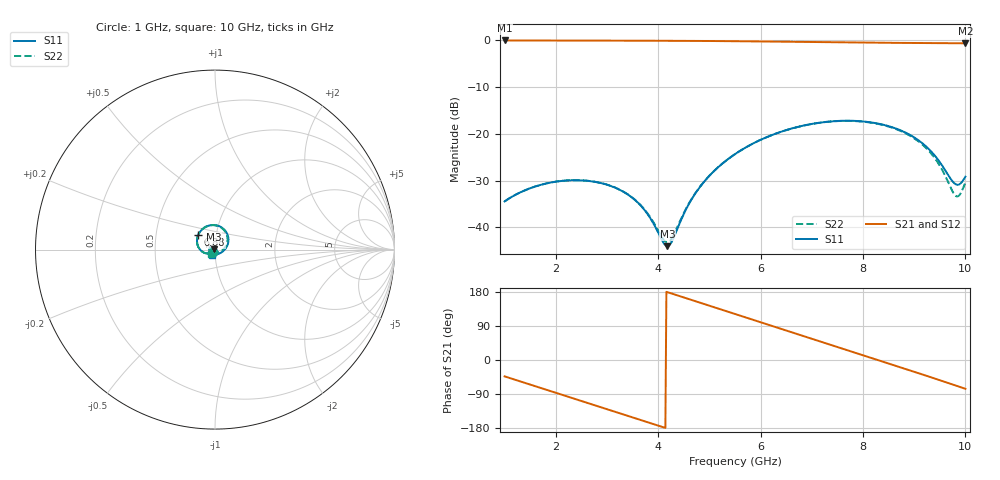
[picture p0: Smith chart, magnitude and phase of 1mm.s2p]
! Touchstone file exported from HFSS 2018.2.0
!  File:  C:/Users/10024/OneDrive - The University of Nottingham Ningbo China/Year 4/Final Year Project/HFSS project/Passive_Resonator_Antenna.aedt
!  Generated:  11:26:03 上午  3月 12, 2022
!  Design:  SMA_Thru
!  Project:  Passive_Resonator_Antenna
!  Setup:  Setup1
!  Solution:  Sweep
! Variables:
!  MW = 1.992mm
!  ThruL = 1mm
!  g = 0.2mm
!  subH = 0.8mm
!  subX = 20mm
!  subY = 11mm
!  tapW = 1.992mm
# GHZ S MA R 50.000000
! Modal data exported
! Port[1] = SMA_CONNECTOR1_1:1
! Port[2] = SMA_CONNECTOR2_1:1
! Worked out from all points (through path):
!   451 points, 1 GHz to 10 GHz, reference 50 ohm
!   highest |S21| = -0.01 dB at 1 GHz (marker M1); lowest = -0.6 dB at 10 GHz (marker M2)
!   group delay of S21, straight-line fit = 121 ps
!   lowest |S11| = -44.1 dB at 4.18 GHz (marker M3), VSWR 1.01, Z = 49.4 + j0.0887 ohm
!   |S11| at or under -10 dB: start of sweep to end of sweep
!   |S22| runs from -43.2 to -17.2 dB; largest |S21 - S12| = 2.4e-14
!   S11 on the Smith chart (normalised r, x): 1 GHz: 0.97, -0.03; 6.88 GHz: 0.82, +0.13; 10 GHz: 0.96, -0.06
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1  0.01889 -134.2  0.9992 -43.2  0.9992 -43.2  0.01889 -132.6
! Gamma ! 0.0151858380091092 30.3716836111863 0.0151858380091321 30.371683611183
! Port Impedance50 0 50 0
1.78  0.02909 -166.6  0.998 -76.9  0.998 -76.9  0.0291 -165.5
2.5  0.03175 163.9  0.9965 -108.1  0.9965 -108.1  0.03178 165.1
2.94  0.02914 146.8  0.9955 -127.1  0.9955 -127.1  0.0292 148.2
3.42  0.02212 130.7  0.9942 -147.9  0.9942 -147.9  0.02224 132.5
3.74  0.0151 125.1  0.9931 -161.8  0.9931 -161.8  0.01532 127.7
4  0.008737 135.3  0.9921 -173.2  0.9921 -173.2  0.009174 138.6
4.18  0.006263 171.8  0.9913 179.0  0.9913 179.0  0.006906 172.5
4.28  0.007256 -162.3  0.9908 174.7  0.9908 174.7  0.007837 -164.0
4.56  0.01614 -137.6  0.9892 162.5  0.9892 162.5  0.01643 -139.2
4.8  0.02628 -139.0  0.9875 152.0  0.9875 152.0  0.02645 -139.9
5.5  0.0606 -162.0  0.981 121.4  0.981 121.4  0.06062 -162.0
6.18  0.09506 169.8  0.9722 91.7  0.9722 91.7  0.09496 170.3
6.88  0.124 139.1  0.9616 61.2  0.9616 61.2  0.1237 139.9
7  0.1277 133.7  0.9597 56.0  0.9597 56.0  0.1273 134.6
7.78  0.1379 98.0  0.9488 22.2  0.9488 22.2  0.1373 99.4
8.5  0.1208 62.7  0.9423 -9.1  0.9423 -9.1  0.1195 65.0
9.26  0.0709 16.9  0.9384 -42.6  0.9384 -42.6  0.06802 21.6
9.5  0.04978 -5.8  0.9369 -53.3  0.9369 -53.3  0.04558 0.5
9.8  0.02905 -64.0  0.9338 -66.8  0.9338 -66.8  0.02193 -63.0
9.88  0.02875 -88.2  0.9327 -70.5  0.9327 -70.5  0.02197 -93.9
10  0.03477 -120.9  0.9307 -76.0  0.9307 -76.0  0.03004 -130.9
